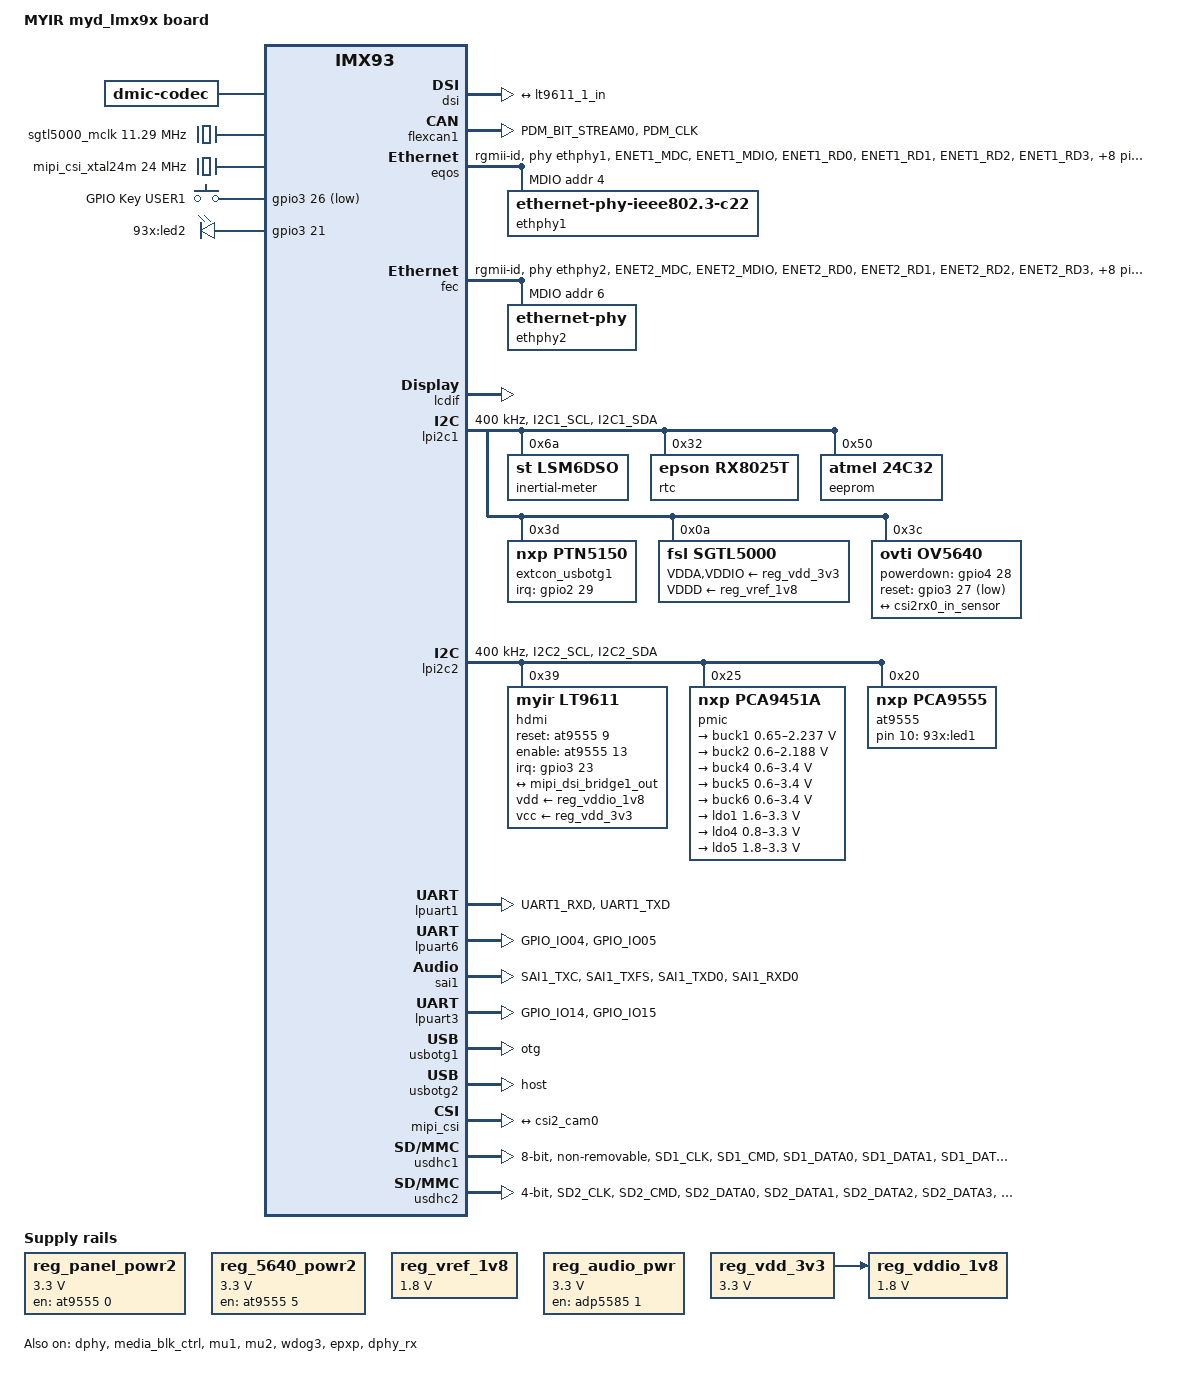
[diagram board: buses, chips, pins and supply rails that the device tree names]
// SPDX-License-Identifier: (GPL-2.0+ OR MIT)
/*
 * Copyright 2022 NXP
 */

/dts-v1/;

#include <dt-bindings/usb/pd.h>
#include "imx93.dtsi"

&ele_fw2 {
	memory-region = <&ele_reserved>;
};

/ {
	model = "MYIR myd_lmx9x board";
	compatible = "fsl,imx93-11x11-evk", "fsl,imx93";

	chosen {
		stdout-path = &lpuart1;
	};

	dmic: dmic {
		compatible = "dmic-codec";
		#sound-dai-cells = <0>;
		num-channels = <4>;
	};

	 reserved-memory {
		#address-cells = <2>;
		#size-cells = <2>;
		ranges;

		linux,cma {
			compatible = "shared-dma-pool";
			reusable;
			alloc-ranges = <0 0x80000000 0 0x40000000>;
			size = <0 0x10000000>;
			linux,cma-default;
		};

		 ethosu_mem: ethosu_region@B0000000 {
		 	compatible = "shared-dma-pool";
		 	reusable;
		 	reg = <0x0 0xB0000000 0x0 0x8000000>;
		 };

		vdev0vring0: vdev0vring0@a4000000 {
			reg = <0 0xa4000000 0 0x8000>;
			no-map;
		};

		vdev0vring1: vdev0vring1@a4008000 {
			reg = <0 0xa4008000 0 0x8000>;
			no-map;
		};

		vdev1vring0: vdev1vring0@a4000000 {
			reg = <0 0xa4010000 0 0x8000>;
			no-map;
		};

		vdev1vring1: vdev1vring1@a4018000 {
			reg = <0 0xa4018000 0 0x8000>;
			no-map;
		};

		rsc_table: rsc-table@2021e000 {
			reg = <0 0x2021e000 0 0x1000>;
			no-map;
		};

		vdevbuffer: vdevbuffer@a4020000 {
			compatible = "shared-dma-pool";
			reg = <0 0xa4020000 0 0x100000>;
			no-map;
		};

		ele_reserved: ele-reserved@a4120000 {
			compatible = "shared-dma-pool";
			reg = <0 0xa4120000 0 0x100000>;
			no-map;
		};
	}; 

	
/*
	ethosu {
		compatible = "arm,ethosu";
		fsl,cm33-proc = <&cm33>;
		memory-region = <&ethosu_mem>;
		power-domains = <&mlmix>;
	};*/

	reg_panel_powr2: regulator-panel {
		compatible = "regulator-fixed";
		regulator-name = "panel-power1";
		regulator-min-microvolt = <3300000>;
		regulator-max-microvolt = <3300000>;
		gpios = <&at9555 0 GPIO_ACTIVE_LOW>;
		enable-active-high;
		regulator-boot-on;
		regulator-always-on;
	};


	reg_5640_powr2: regulator-5640 {
		compatible = "regulator-fixed";
		regulator-name = "5640-power1";
		regulator-min-microvolt = <3300000>;
		regulator-max-microvolt = <3300000>;
		gpios = <&at9555 5 GPIO_ACTIVE_HIGH>;
		enable-active-high;
		regulator-boot-on;
		regulator-always-on;
	};




	reg_vref_1v8: regulator-adc-vref {
		compatible = "regulator-fixed";
		regulator-name = "vref_1v8";
		regulator-min-microvolt = <1800000>;
		regulator-max-microvolt = <1800000>;
	};

	/* reg_usdhc2_vmmc: regulator-usdhc2 {
		compatible = "regulator-fixed";
		pinctrl-names = "default";
		pinctrl-0 = <&pinctrl_reg_pmic>;
		regulator-name = "VSD_3V3";
		regulator-min-microvolt = <3300000>;
		regulator-max-microvolt = <3300000>;
		gpio = <&gpio3 7 GPIO_ACTIVE_HIGH>;
		off-on-delay-us = <12000>;
		enable-active-high;
	}; */






	reg_audio_pwr: regulator-audio-pwr {
		compatible = "regulator-fixed";
		regulator-name = "audio-pwr";
		regulator-min-microvolt = <3300000>;
		regulator-max-microvolt = <3300000>;
		gpio = <&adp5585 1 GPIO_ACTIVE_HIGH>;
		enable-active-high;
		regulator-always-on;
	};


	reg_vdd_3v3: regulator-vdd {
		compatible = "regulator-fixed";
		regulator-name = "VDD_3V3";
		regulator-min-microvolt = <3300000>;
		regulator-max-microvolt = <3300000>;
		startup-delay-us = <4000>;
		enable-active-high;
	};

	reg_vddio_1v8: regulator-vddo {
		compatible = "regulator-fixed";
		regulator-name = "VDDIO_1V8";
		regulator-min-microvolt = <1800000>;
		regulator-max-microvolt = <1800000>;
		startup-delay-us = <4000>;
		enable-active-high;
		vin-supply = <&reg_vdd_3v3>;
	};

		sgtl5000_mclk: sgtl5000-mclk {
		compatible = "fixed-clock";
		#clock-cells = <0>;
		clock-frequency = <11289600>;
	};

	mipi_csi_xtal24m: mipi_csi_xtal24m {
		compatible = "fixed-clock";
		#clock-cells = <0>;
		clock-frequency = <24000000>;
		clock-output-names = "xtal_24MHz";
	};

	gpio-keys {
		compatible = "gpio-keys";
		autorepeat;
		pinctrl-names = "default";
		pinctrl-0 = <&pinctrl_key>;

		user: user {
			label = "GPIO Key USER1";
			linux,code = <KEY_HOME>;
			gpios = <&gpio3 26 GPIO_ACTIVE_LOW>;
		};

	};
	leds {
		compatible = "gpio-leds";
		status = "okay";
		led-user {
			label = "93x:led1";
			gpios = <&at9555 10 GPIO_ACTIVE_HIGH>;
			max-brightness = <255>;
			linux,default-trigger = "heartbeat";
		};

		led-sys {
			label = "93x:led2";
			pinctrl-names = "default";
			pinctrl-1 = <&pinctrl_sysled>;
			gpios = <&gpio3 21 GPIO_ACTIVE_HIGH>;
			linux,default-trigger = "heartbeat";
		};
	};

	sound {
		compatible = "simple-audio-card";
		simple-audio-card,name = "SGTL5000-Card";
		simple-audio-card,format = "i2s";
		simple-audio-card,bitclock-master = <&codec_dai>;
		simple-audio-card,frame-master = <&codec_dai>;
		simple-audio-card,widgets = "Headphone", "Headphone Jack";
		simple-audio-card,routing = "Headphone Jack", "HP_OUT";

		cpu_dai: simple-audio-card,cpu {
			sound-dai = <&sai1>;
		};

		codec_dai: simple-audio-card,codec {
			sound-dai = <&sgtl5000>;
			clocks = <&sgtl5000_mclk>;
		};
	};

	bt_sco_codec: bt-sco-codec {
		compatible = "linux,bt-sco";
		#sound-dai-cells = <1>;
		status = "disabled";
	};

	sound-bt-sco {
		compatible = "simple-audio-card";
		simple-audio-card,name = "bt-sco-audio";
		simple-audio-card,format = "dsp_a";
		simple-audio-card,bitclock-inversion;
		simple-audio-card,frame-master = <&btcpu>;
		simple-audio-card,bitclock-master = <&btcpu>;
		status = "disabled";

		btcpu: simple-audio-card,cpu {
			sound-dai = <&sai1>;
			dai-tdm-slot-num = <2>;
			dai-tdm-slot-width = <16>;
		};

		simple-audio-card,codec {
			sound-dai = <&bt_sco_codec 1>;
		};
	};

	sound-micfil {
		compatible = "fsl,imx-audio-card";
		model = "micfil-audio";
		status = "disabled";

		pri-dai-link {
			link-name = "micfil hifi";
			format = "i2s";

			cpu {
				sound-dai = <&micfil>;
			};

			codec {
				sound-dai = <&dmic>;
			};
		};
	};

	sound-xcvr {
		compatible = "fsl,imx-audio-card";
		model = "imx-audio-xcvr";
		status = "disabled";

		pri-dai-link {
			link-name = "XCVR PCM";

			cpu {
				sound-dai = <&xcvr>;
			};
		};
	};
};

&adc1 {
	vref-supply = <&reg_vref_1v8>;
	status = "disabled";
};

&cm33 {
	mbox-names = "tx", "rx", "rxdb";
	mboxes = <&mu1 0 1>,
		 <&mu1 1 1>,
		 <&mu1 3 1>;
	memory-region = <&vdevbuffer>, <&vdev0vring0>, <&vdev0vring1>,
			<&vdev1vring0>, <&vdev1vring1>, <&rsc_table>;
	fsl,startup-delay-ms = <500>;
	status = "disabled";
};

&dphy {
	status = "okay";
};

&dsi {
 	status = "okay";
 	ports{
 		#address-cells = <1>;
 		#size-cells = <0>;

 		hdmi:port@1 {
 			reg = <1>;
 			mipi_dsi_bridge1_out: endpoint {
 				remote-endpoint = <&lt9611_1_in>;
 				};
 			};
 		};
 		
 };

&flexcan1 {
	pinctrl-names = "default";
	pinctrl-0 = <&pinctrl_flexcan1>;
	status = "okay";
};

&eqos {
	pinctrl-names = "default", "sleep";
	pinctrl-0 = <&pinctrl_eqos>;
	pinctrl-1 = <&pinctrl_eqos_sleep>;
	phy-mode = "rgmii-id";
	phy-handle = <&ethphy1>;
	status = "okay";

	mdio {
		compatible = "snps,dwmac-mdio";
		#address-cells = <1>;
		#size-cells = <0>;
		clock-frequency = <5000000>;

		ethphy1: ethernet-phy@1 {
			compatible = "ethernet-phy-ieee802.3-c22";
			reg = <4>;
			eee-broken-1000t;
		};
	};
};

&fec {
	pinctrl-names = "default", "sleep";
	pinctrl-0 = <&pinctrl_fec>;
	pinctrl-1 = <&pinctrl_fec_sleep>;
	phy-mode = "rgmii-id";
	phy-handle = <&ethphy2>;
	fsl,magic-packet;
	status = "okay";

	mdio {
		#address-cells = <1>;
		#size-cells = <0>;
		clock-frequency = <5000000>;

		ethphy2: ethernet-phy@2 {
			reg = <6>;
			eee-broken-1000t;

		};
	};
};

&flexcan2 {
	status = "disabled";
};

&lcdif {
	status = "okay";
	assigned-clock-rates = <445333333>, <148444444>, <400000000>, <133333333>;
};

&lpm {
	soc-supply = <&buck1>;
	status = "disabled";
};

/*
 * When add, delete or change any target device setting in &lpi2c1,
 * please synchronize the changes to the &i3c1 bus in imx93-11x11-evk-i3c.dts.
 */
&lpi2c1 {
	clock-frequency = <400000>;
	pinctrl-names = "default";
	pinctrl-0 = <&pinctrl_lpi2c1>;
	status = "okay";

	codec: wm8962@1a {
		compatible = "wlf,wm8962";
		reg = <0x1a>;
		clocks = <&clk IMX93_CLK_SAI3_GATE>;
		DCVDD-supply = <&reg_audio_pwr>;
		DBVDD-supply = <&reg_audio_pwr>;
		AVDD-supply = <&reg_audio_pwr>;
		CPVDD-supply = <&reg_audio_pwr>;
		MICVDD-supply = <&reg_audio_pwr>;
		PLLVDD-supply = <&reg_audio_pwr>;
		SPKVDD1-supply = <&reg_audio_pwr>;
		SPKVDD2-supply = <&reg_audio_pwr>;
		gpio-cfg = <
			0x0000 /* 0:Default */
			0x0000 /* 1:Default */
			0x0000 /* 2:FN_DMICCLK */
			0x0000 /* 3:Default */
			0x0000 /* 4:FN_DMICCDAT */
			0x0000 /* 5:Default */
		>;
		status = "disabled";
	};

	inertial-meter@6a {
		compatible = "st,lsm6dso";
		reg = <0x6a>;
	};
	
	rtc: rtc@32 {
		compatible = "epson,rx8025t";
		reg = <0x32>;
		status = "okay";
	};

	eeprom: 24c32@50 {
		compatible = "atmel,24c32";
		reg = <0x50>;
		pagesize = <32>;
	};
	       extcon_usbotg1: typec@3d {
                compatible = "nxp,ptn5150";
                reg = <0x3d>;
                interrupt-parent = <&gpio2>;
                interrupts = <29 IRQ_TYPE_LEVEL_LOW>;
                pinctrl-names = "default";
                pinctrl-0 = <&pinctrl_tyint>;
                status = "okay";
        };

		sgtl5000: audio-codec@a {
		compatible = "fsl,sgtl5000";
		reg = <0xa>;
		#sound-dai-cells = <0>;
		clocks = <&sgtl5000_mclk>;
		VDDA-supply = <&reg_vdd_3v3>;
		VDDIO-supply = <&reg_vdd_3v3>;
		VDDD-supply = <&reg_vref_1v8>;
	};

	ov5640: camera@3c {
		compatible = "ovti,ov5640";
		reg = <0x3c>;

		pinctrl-names ="default";
		pinctrl-0=<&pinctrl_ov5640_gpio>;

		clocks = <&mipi_csi_xtal24m>;
		// assigned-clocks = <&clk IMX93_CLK_CCM_CKO3>;
		// assigned-clock-rates = <24000000>;
		powerdown-gpios = <&gpio4 28 GPIO_ACTIVE_HIGH>;
		reset-gpios = <&gpio3 27 GPIO_ACTIVE_LOW>;
        clock-names = "xclk";

		csi_id = <0>;
		mclk = <24000000>;
		mclk_source = <0>;
		mipi_csi;
		status = "okay";

		port {
			csi2_cam0: endpoint {
				remote-endpoint = <&csi2rx0_in_sensor>;
				data-lanes = <1 2>;
				// cfg-clk-range = <28>;
				// hs-clk-range = <0x16>;
			};
		};
	};

};


&lpi2c2 {
	clock-frequency = <400000>;
	pinctrl-names = "default", "sleep";
	pinctrl-0 = <&pinctrl_lpi2c2>;
	pinctrl-1 = <&pinctrl_lpi2c2>;
	status = "okay";

hdmi@39 {
	compatible = "myir,lt9611";
	pinctrl-0 = <&pinctrl_lt9611>;
	pinctrl-names = "default";
	vdd-supply = <&reg_vddio_1v8>;
	vcc-supply = <&reg_vdd_3v3>;
	
	// ddc-i2c-bus = <&lpi2c2>;
	// hpd-gpios = <&gpio1 8 GPIO_ACTIVE_HIGH>;
	// dsi-lanes = <4>;
	reg = <0x39>;
	reset-gpios = <&at9555 9 GPIO_ACTIVE_HIGH>;
	enable-gpios = <&at9555 13 GPIO_ACTIVE_HIGH>;
	interrupts-extended = <&gpio3 23 IRQ_TYPE_EDGE_FALLING>;
    // lvds-enabled = <0>;
    status = "okay";	    

	 ports {
	 	#address-cells = <1>;
	 	#size-cells = <0>;

	 	hdmi_disp: port@0 {
	 		reg = <0>;

	 		lt9611_1_in: endpoint {
	 			remote-endpoint = <&mipi_dsi_bridge1_out>;
	 		};
	 	};
/*
		 	port@2 {
		 		reg = <2>;
		 		lt9611_out: endpoint {
		 			remote-endpoint = <&hdmi_con>;
		 		};
		 	};
		 	*/
		 	
		 };
	};


	pmic@25 {
		compatible = "nxp,pca9451a";
		reg = <0x25>;

		regulators {
			buck1: BUCK1 {
				regulator-name = "BUCK1";
				regulator-min-microvolt = <650000>;
				regulator-max-microvolt = <2237500>;
				regulator-boot-on;
				regulator-always-on;
				regulator-ramp-delay = <3125>;
			};

			buck2: BUCK2 {
				regulator-name = "BUCK2";
				regulator-min-microvolt = <600000>;
				regulator-max-microvolt = <2187500>;
				regulator-boot-on;
				regulator-always-on;
				regulator-ramp-delay = <3125>;
			};

			buck4: BUCK4{
				regulator-name = "BUCK4";
				regulator-min-microvolt = <600000>;
				regulator-max-microvolt = <3400000>;
				regulator-boot-on;
				regulator-always-on;
			};

			buck5: BUCK5{
				regulator-name = "BUCK5";
				regulator-min-microvolt = <600000>;
				regulator-max-microvolt = <3400000>;
				regulator-boot-on;
				regulator-always-on;
			};

			buck6: BUCK6 {
				regulator-name = "BUCK6";
				regulator-min-microvolt = <600000>;
				regulator-max-microvolt = <3400000>;
				regulator-boot-on;
				regulator-always-on;
			};

			ldo1: LDO1 {
				regulator-name = "LDO1";
				regulator-min-microvolt = <1600000>;
				regulator-max-microvolt = <3300000>;
				regulator-boot-on;
				regulator-always-on;
			};

			ldo4: LDO4 {
				regulator-name = "LDO4";
				regulator-min-microvolt = <800000>;
				regulator-max-microvolt = <3300000>;
				regulator-boot-on;
				regulator-always-on;
			};

			ldo5: LDO5 {
				regulator-name = "LDO5";
				regulator-min-microvolt = <1800000>;
				regulator-max-microvolt = <3300000>;
				regulator-boot-on;
				regulator-always-on;
			};
		};
	};

	adp5585: io-expander@34 {
		compatible = "adi,adp5585-00", "adi,adp5585";
		reg = <0x34>;
		vdd-supply = <&buck4>;
		gpio-controller;
		#gpio-cells = <2>;
		gpio-reserved-ranges = <5 1>;
		#pwm-cells = <3>;
		status = "disabled";
	};

	at9555: at9555@20 {
		compatible = "nxp,pca9555";
		reg = <0x20>;
		#gpio-cells = <2>;
		gpio_base = <130>;
		interrupt-controller;
		#interrupt-cells = <2>;
		status = "okay";
	};

};

&lpi2c3 {
	clock-frequency = <400000>;
	pinctrl-names = "default";
	pinctrl-0 = <&pinctrl_lpi2c3>;
	status = "disabled";

};

&lpuart1 { /* console */
	pinctrl-names = "default";
	pinctrl-0 = <&pinctrl_uart1>;
	status = "okay";
};

&lpuart6 { /* console */
	pinctrl-names = "default";
	pinctrl-0 = <&pinctrl_uart6>;
	status = "okay";
};

&lpuart5 {
	pinctrl-names = "default";
	pinctrl-0 = <&pinctrl_uart5>;
	status = "disabled";

	bluetooth {
		compatible = "nxp,88w8987-bt";
	};
};

&media_blk_ctrl {
	status = "okay";
};

&micfil {
	pinctrl-names = "default", "sleep";
	pinctrl-0 = <&pinctrl_pdm>;
	pinctrl-1 = <&pinctrl_pdm_sleep>;
	assigned-clocks = <&clk IMX93_CLK_PDM>;
	assigned-clock-parents = <&clk IMX93_CLK_AUDIO_PLL>;
	assigned-clock-rates = <49152000>;
	status = "disabled";
};

&mu1 {
	status = "okay";
};

&mu2 {
	status = "okay";
};

&sai1 {
	pinctrl-names = "default", "sleep";
	pinctrl-0 = <&pinctrl_sai1>;
	pinctrl-1 = <&pinctrl_sai1_sleep>;
	assigned-clocks = <&clk IMX93_CLK_SAI1>;
	assigned-clock-parents = <&clk IMX93_CLK_AUDIO_PLL>;
	assigned-clock-rates = <12288000>;
	fsl,sai-mclk-direction-output;
	status = "okay";
};

&sai3 {
	pinctrl-names = "default", "sleep";
	pinctrl-0 = <&pinctrl_sai3>;
	pinctrl-1 = <&pinctrl_sai3_sleep>;
	assigned-clocks = <&clk IMX93_CLK_SAI3>;
	assigned-clock-parents = <&clk IMX93_CLK_AUDIO_PLL>;
	assigned-clock-rates = <12288000>;
	fsl,sai-mclk-direction-output;
	status = "disabled";
};

&lpuart3 {
	pinctrl-names = "default";
	pinctrl-0 = <&pinctrl_uart3>;
	rs485-rx-during-tx;
	linux,rs485-enabled-at-boot-time;
	status = "okay";

};

&usbotg1 {
	dr_mode = "otg";
	hnp-disable;
	srp-disable;
	adp-disable;
	usb-role-switch;
	disable-over-current;
	samsung,picophy-pre-emp-curr-control = <3>;
	samsung,picophy-dc-vol-level-adjust = <7>;
	status = "okay";

	extcon = <&extcon_usbotg1>, <&extcon_usbotg1>;
};

&usbotg2 {
	dr_mode = "host";
	disable-over-current;
	status = "okay";
};

&mipi_csi {
	status = "okay";
	port@0 {
	csi2rx0_in_sensor: endpoint {
		remote-endpoint = <&csi2_cam0>;
		bus-type = <4>; /* CSI2 DPHY. */
				data-lanes = <2>;
				cfg-clk-range = <28>;
				hs-clk-range = <0x16>;
	};
	};
};


&usdhc1 {
	pinctrl-names = "default", "state_100mhz", "state_200mhz";
	pinctrl-0 = <&pinctrl_usdhc1>;
	pinctrl-1 = <&pinctrl_usdhc1_100mhz>;
	pinctrl-2 = <&pinctrl_usdhc1_200mhz>;
	bus-width = <8>;
	fsl,tuning-step = <1>;
	non-removable;
	status = "okay";
};

&usdhc2 {
	pinctrl-names = "default", "state_100mhz", "state_200mhz", "sleep";
	pinctrl-0 = <&pinctrl_usdhc2>, <&pinctrl_usdhc2_gpio>;
	pinctrl-1 = <&pinctrl_usdhc2_100mhz>, <&pinctrl_usdhc2_gpio>;
	pinctrl-2 = <&pinctrl_usdhc2_200mhz>, <&pinctrl_usdhc2_gpio>;
	pinctrl-3 = <&pinctrl_usdhc2_sleep>, <&pinctrl_usdhc2_gpio_sleep>;
	cd-gpios = <&gpio3 00 GPIO_ACTIVE_LOW>;
	fsl,cd-gpio-wakeup-disable;
	/* vmmc-supply = <&reg_usdhc2_vmmc>; */
	bus-width = <4>;
	fsl,tuning-step = <1>;
	status = "okay";
	no-mmc;
};

&usdhc3 {

	status = "disabled";
};

&wdog3 {
	status = "okay";
};

&xcvr {
	pinctrl-names = "default", "sleep";
	pinctrl-0 = <&pinctrl_spdif>;
	pinctrl-1 = <&pinctrl_spdif_sleep>;
	assigned-clocks = <&clk IMX93_CLK_SPDIF>,
			 <&clk IMX93_CLK_AUDIO_XCVR>;
	assigned-clock-parents = <&clk IMX93_CLK_AUDIO_PLL>,
			 <&clk IMX93_CLK_SYS_PLL_PFD1_DIV2>;
	assigned-clock-rates = <12288000>, <200000000>;
	status = "disabled";
};

&iomuxc {
	pinctrl_uart3: pinctrluart3 {
		fsl,pins = <
			MX93_PAD_GPIO_IO14__LPUART3_TX             0x0000057E	
            MX93_PAD_GPIO_IO15__LPUART3_RX             0x0000057E
		>;
	};

	pinctrl_lt9611: pinctrl9611 {
		fsl,pins = <
            MX93_PAD_SD3_DATA1__GPIO3_IO23             0x0000057E
			>;
        };

	pinctrl_eqos: eqosgrp {
		fsl,pins = <
			MX93_PAD_ENET1_MDC__ENET_QOS_MDC			0x57e
			MX93_PAD_ENET1_MDIO__ENET_QOS_MDIO			0x57e
			MX93_PAD_ENET1_RD0__ENET_QOS_RGMII_RD0			0x57e
			MX93_PAD_ENET1_RD1__ENET_QOS_RGMII_RD1			0x57e
			MX93_PAD_ENET1_RD2__ENET_QOS_RGMII_RD2			0x57e
			MX93_PAD_ENET1_RD3__ENET_QOS_RGMII_RD3			0x57e
			MX93_PAD_ENET1_RXC__CCM_ENET_QOS_CLOCK_GENERATE_RX_CLK	0x58e
			MX93_PAD_ENET1_RX_CTL__ENET_QOS_RGMII_RX_CTL		0x57e
			MX93_PAD_ENET1_TD0__ENET_QOS_RGMII_TD0			0x57e
			MX93_PAD_ENET1_TD1__ENET_QOS_RGMII_TD1			0x57e
			MX93_PAD_ENET1_TD2__ENET_QOS_RGMII_TD2			0x57e
			MX93_PAD_ENET1_TD3__ENET_QOS_RGMII_TD3			0x57e
			MX93_PAD_ENET1_TXC__CCM_ENET_QOS_CLOCK_GENERATE_TX_CLK	0x58e
			MX93_PAD_ENET1_TX_CTL__ENET_QOS_RGMII_TX_CTL		0x57e
		>;
	};

	pinctrl_eqos_sleep: eqossleepgrp {
		fsl,pins = <
			MX93_PAD_ENET1_MDC__GPIO4_IO00				0x31e
			MX93_PAD_ENET1_MDIO__GPIO4_IO01				0x31e
			MX93_PAD_ENET1_RD0__GPIO4_IO10                          0x31e
			MX93_PAD_ENET1_RD1__GPIO4_IO11				0x31e
			MX93_PAD_ENET1_RD2__GPIO4_IO12				0x31e
			MX93_PAD_ENET1_RD3__GPIO4_IO13				0x31e
			MX93_PAD_ENET1_RXC__GPIO4_IO09                          0x31e
			MX93_PAD_ENET1_RX_CTL__GPIO4_IO08			0x31e
			MX93_PAD_ENET1_TD0__GPIO4_IO05                          0x31e
			MX93_PAD_ENET1_TD1__GPIO4_IO04                          0x31e
			MX93_PAD_ENET1_TD2__GPIO4_IO03				0x31e
			MX93_PAD_ENET1_TD3__GPIO4_IO02				0x31e
			MX93_PAD_ENET1_TXC__GPIO4_IO07                          0x31e
			MX93_PAD_ENET1_TX_CTL__GPIO4_IO06                       0x31e
		>;
	};

	pinctrl_flexcan1: flexcan1grp {
		fsl,pins = <
		MX93_PAD_PDM_BIT_STREAM0__CAN1_RX          0x0000057E
            	MX93_PAD_PDM_CLK__CAN1_TX  				   0x0000057E
		>;
	};

	pinctrl_fec: fecgrp {
		fsl,pins = <
			MX93_PAD_ENET2_MDC__ENET1_MDC			0x57e
			MX93_PAD_ENET2_MDIO__ENET1_MDIO			0x57e
			MX93_PAD_ENET2_RD0__ENET1_RGMII_RD0		0x57e
			MX93_PAD_ENET2_RD1__ENET1_RGMII_RD1		0x57e
			MX93_PAD_ENET2_RD2__ENET1_RGMII_RD2		0x57e
			MX93_PAD_ENET2_RD3__ENET1_RGMII_RD3		0x57e
			MX93_PAD_ENET2_RXC__ENET1_RGMII_RXC		0x58e
			MX93_PAD_ENET2_RX_CTL__ENET1_RGMII_RX_CTL	0x57e
			MX93_PAD_ENET2_TD0__ENET1_RGMII_TD0		0x57e
			MX93_PAD_ENET2_TD1__ENET1_RGMII_TD1		0x57e
			MX93_PAD_ENET2_TD2__ENET1_RGMII_TD2		0x57e
			MX93_PAD_ENET2_TD3__ENET1_RGMII_TD3		0x57e
			MX93_PAD_ENET2_TXC__ENET1_RGMII_TXC		0x58e
			MX93_PAD_ENET2_TX_CTL__ENET1_RGMII_TX_CTL	0x57e
		>;
	};

	pinctrl_key: pinctrlkey {
		fsl,pins = <
                MX93_PAD_CCM_CLKO1__GPIO3_IO26             0x0000051E
			>;
    };
	pinctrl_sysled: pinctrlsysled {
		fsl,pins = <
                MX93_PAD_SD3_CMD__GPIO3_IO21               0x0000051E
			>;
    };
	pinctrl_tyint: typecint {
		fsl,pins = <
                MX93_PAD_GPIO_IO29__GPIO2_IO29             0x0000051E
		>;
	};

	pinctrl_fec_sleep: fecsleepgrp {
		fsl,pins = <
			MX93_PAD_ENET2_MDC__GPIO4_IO14			0x51e
			MX93_PAD_ENET2_MDIO__GPIO4_IO15			0x51e
			MX93_PAD_ENET2_RD0__GPIO4_IO24			0x51e
			MX93_PAD_ENET2_RD1__GPIO4_IO25			0x51e
			MX93_PAD_ENET2_RD2__GPIO4_IO26			0x51e
			MX93_PAD_ENET2_RD3__GPIO4_IO27			0x51e
			MX93_PAD_ENET2_RXC__GPIO4_IO23                  0x51e
			MX93_PAD_ENET2_RX_CTL__GPIO4_IO22		0x51e
			MX93_PAD_ENET2_TD0__GPIO4_IO19			0x51e
			MX93_PAD_ENET2_TD1__GPIO4_IO18			0x51e
			MX93_PAD_ENET2_TD2__GPIO4_IO17			0x51e
			MX93_PAD_ENET2_TD3__GPIO4_IO16			0x51e
			MX93_PAD_ENET2_TXC__GPIO4_IO21                  0x51e
			MX93_PAD_ENET2_TX_CTL__GPIO4_IO20               0x51e
		>;
	};




	pinctrl_uart1: uart1grp {
		fsl,pins = <
			MX93_PAD_UART1_RXD__LPUART1_RX			0x31e
			MX93_PAD_UART1_TXD__LPUART1_TX			0x31e
		>;
	};

	pinctrl_uart6: uart6grp {
		fsl,pins = <
                MX93_PAD_GPIO_IO04__LPUART6_TX             0x0000057E
                MX93_PAD_GPIO_IO05__LPUART6_RX             0x0000057E
		>;
	};

	pinctrl_uart5: uart5grp {
		fsl,pins = <
			MX93_PAD_DAP_TDO_TRACESWO__LPUART5_TX		0x31e
			MX93_PAD_DAP_TDI__LPUART5_RX			0x31e
			MX93_PAD_DAP_TMS_SWDIO__LPUART5_RTS_B		0x31e
			MX93_PAD_DAP_TCLK_SWCLK__LPUART5_CTS_B		0x31e
		>;
	};

	pinctrl_ov5640_gpio: pinctrl-ov5640-gpio {
		fsl,pins = <
                MX93_PAD_CCM_CLKO2__GPIO3_IO27             0x0000057E
                MX93_PAD_CCM_CLKO3__GPIO4_IO28             0x0000057E
		>;
	};

	pinctrl_lpi2c1: lpi2c1grp {
		fsl,pins = <
			MX93_PAD_I2C1_SCL__LPI2C1_SCL			0x40000b9e
			MX93_PAD_I2C1_SDA__LPI2C1_SDA			0x40000b9e
		>;
	};

	pinctrl_lpi2c2: lpi2c2grp {
		fsl,pins = <
			MX93_PAD_I2C2_SCL__LPI2C2_SCL			0x40000b9e
			MX93_PAD_I2C2_SDA__LPI2C2_SDA			0x40000b9e
		>;
	};

	pinctrl_lpi2c3: lpi2c3grp {
		fsl,pins = <
			MX93_PAD_GPIO_IO28__LPI2C3_SDA			0x40000b9e
			MX93_PAD_GPIO_IO29__LPI2C3_SCL			0x40000b9e
		>;
	};

	pinctrl_pdm: pdmgrp {
		fsl,pins = <
			MX93_PAD_PDM_CLK__PDM_CLK			0x31e
			MX93_PAD_PDM_BIT_STREAM0__PDM_BIT_STREAM00	0x31e
			MX93_PAD_PDM_BIT_STREAM1__PDM_BIT_STREAM01	0x31e
		>;
	};

	pinctrl_pdm_sleep: pdmsleepgrp {
		fsl,pins = <
			MX93_PAD_PDM_CLK__GPIO1_IO08			0x31e
			MX93_PAD_PDM_BIT_STREAM0__GPIO1_IO09		0x31e
			MX93_PAD_PDM_BIT_STREAM1__GPIO1_IO10		0x31e
		>;
	};

	pinctrl_sai1: sai1grp {
		fsl,pins = <
			MX93_PAD_SAI1_TXC__SAI1_TX_BCLK			0x31e
			MX93_PAD_SAI1_TXFS__SAI1_TX_SYNC		0x31e
			MX93_PAD_SAI1_TXD0__SAI1_TX_DATA00		0x31e
			MX93_PAD_SAI1_RXD0__SAI1_RX_DATA00		0x31e
		>;
	};

	pinctrl_sai1_sleep: sai1sleepgrp {
		fsl,pins = <
			MX93_PAD_SAI1_TXC__GPIO1_IO12                   0x51e
			MX93_PAD_SAI1_TXFS__GPIO1_IO11			0x51e
			MX93_PAD_SAI1_TXD0__GPIO1_IO13			0x51e
			MX93_PAD_SAI1_RXD0__GPIO1_IO14			0x51e
		>;
	};

	/* need to config the SION for data and cmd pad, refer to ERR052021 */
	pinctrl_usdhc1: usdhc1grp {
		fsl,pins = <
			MX93_PAD_SD1_CLK__USDHC1_CLK		0x1582
			MX93_PAD_SD1_CMD__USDHC1_CMD		0x40001382
			MX93_PAD_SD1_DATA0__USDHC1_DATA0	0x40001382
			MX93_PAD_SD1_DATA1__USDHC1_DATA1	0x40001382
			MX93_PAD_SD1_DATA2__USDHC1_DATA2	0x40001382
			MX93_PAD_SD1_DATA3__USDHC1_DATA3	0x40001382
			MX93_PAD_SD1_DATA4__USDHC1_DATA4	0x40001382
			MX93_PAD_SD1_DATA5__USDHC1_DATA5	0x40001382
			MX93_PAD_SD1_DATA6__USDHC1_DATA6	0x40001382
			MX93_PAD_SD1_DATA7__USDHC1_DATA7	0x40001382
			MX93_PAD_SD1_STROBE__USDHC1_STROBE	0x1582
		>;
	};

	/* need to config the SION for data and cmd pad, refer to ERR052021 */
	pinctrl_usdhc1_100mhz: usdhc1-100mhzgrp {
		fsl,pins = <
			MX93_PAD_SD1_CLK__USDHC1_CLK		0x158e
			MX93_PAD_SD1_CMD__USDHC1_CMD		0x4000138e
			MX93_PAD_SD1_DATA0__USDHC1_DATA0	0x4000138e
			MX93_PAD_SD1_DATA1__USDHC1_DATA1	0x4000138e
			MX93_PAD_SD1_DATA2__USDHC1_DATA2	0x4000138e
			MX93_PAD_SD1_DATA3__USDHC1_DATA3	0x4000138e
			MX93_PAD_SD1_DATA4__USDHC1_DATA4	0x4000138e
			MX93_PAD_SD1_DATA5__USDHC1_DATA5	0x4000138e
			MX93_PAD_SD1_DATA6__USDHC1_DATA6	0x4000138e
			MX93_PAD_SD1_DATA7__USDHC1_DATA7	0x4000138e
			MX93_PAD_SD1_STROBE__USDHC1_STROBE	0x158e
		>;
	};

	/* need to config the SION for data and cmd pad, refer to ERR052021 */
	pinctrl_usdhc1_200mhz: usdhc1-200mhzgrp {
		fsl,pins = <
			MX93_PAD_SD1_CLK__USDHC1_CLK		0x15fe
			MX93_PAD_SD1_CMD__USDHC1_CMD		0x400013fe
			MX93_PAD_SD1_DATA0__USDHC1_DATA0	0x400013fe
			MX93_PAD_SD1_DATA1__USDHC1_DATA1	0x400013fe
			MX93_PAD_SD1_DATA2__USDHC1_DATA2	0x400013fe
			MX93_PAD_SD1_DATA3__USDHC1_DATA3	0x400013fe
			MX93_PAD_SD1_DATA4__USDHC1_DATA4	0x400013fe
			MX93_PAD_SD1_DATA5__USDHC1_DATA5	0x400013fe
			MX93_PAD_SD1_DATA6__USDHC1_DATA6	0x400013fe
			MX93_PAD_SD1_DATA7__USDHC1_DATA7	0x400013fe
			MX93_PAD_SD1_STROBE__USDHC1_STROBE	0x15fe
		>;
	};

	pinctrl_reg_pmic: regpmicvmmcgrp {
		fsl,pins = <
			MX93_PAD_SD2_RESET_B__GPIO3_IO07	0x31e
		>;
	};

	pinctrl_spdif: spdifgrp {
		fsl,pins = <
			MX93_PAD_GPIO_IO22__SPDIF_IN		0x3fe
			MX93_PAD_GPIO_IO23__SPDIF_OUT		0x3fe
		>;
	};

	pinctrl_spdif_sleep: spdifsleepgrp {
		fsl,pins = <
			MX93_PAD_GPIO_IO22__GPIO2_IO22		0x31e
			MX93_PAD_GPIO_IO23__GPIO2_IO23		0x31e
		>;
	};

	pinctrl_usdhc2_gpio: usdhc2gpiogrp {
		fsl,pins = <
			MX93_PAD_SD2_CD_B__GPIO3_IO00		0x31e
		>;
	};

	pinctrl_usdhc2_gpio_sleep: usdhc2gpiosleepgrp {
		fsl,pins = <
			MX93_PAD_SD2_CD_B__GPIO3_IO00		0x51e
		>;
	};

	/* need to config the SION for data and cmd pad, refer to ERR052021 */
	pinctrl_usdhc2: usdhc2grp {
		fsl,pins = <
			MX93_PAD_SD2_CLK__USDHC2_CLK		0x1582
			MX93_PAD_SD2_CMD__USDHC2_CMD		0x40001382
			MX93_PAD_SD2_DATA0__USDHC2_DATA0	0x40001382
			MX93_PAD_SD2_DATA1__USDHC2_DATA1	0x40001382
			MX93_PAD_SD2_DATA2__USDHC2_DATA2	0x40001382
			MX93_PAD_SD2_DATA3__USDHC2_DATA3	0x40001382
			MX93_PAD_SD2_VSELECT__USDHC2_VSELECT	0x51e
		>;
	};

	/* need to config the SION for data and cmd pad, refer to ERR052021 */
	pinctrl_usdhc2_100mhz: usdhc2-100mhzgrp {
		fsl,pins = <
			MX93_PAD_SD2_CLK__USDHC2_CLK		0x158e
			MX93_PAD_SD2_CMD__USDHC2_CMD		0x4000138e
			MX93_PAD_SD2_DATA0__USDHC2_DATA0	0x4000138e
			MX93_PAD_SD2_DATA1__USDHC2_DATA1	0x4000138e
			MX93_PAD_SD2_DATA2__USDHC2_DATA2	0x4000138e
			MX93_PAD_SD2_DATA3__USDHC2_DATA3	0x4000138e
			MX93_PAD_SD2_VSELECT__USDHC2_VSELECT	0x51e
		>;
	};

	/* need to config the SION for data and cmd pad, refer to ERR052021 */
	pinctrl_usdhc2_200mhz: usdhc2-200mhzgrp {
		fsl,pins = <
			MX93_PAD_SD2_CLK__USDHC2_CLK		0x15fe
			MX93_PAD_SD2_CMD__USDHC2_CMD		0x400013fe
			MX93_PAD_SD2_DATA0__USDHC2_DATA0	0x400013fe
			MX93_PAD_SD2_DATA1__USDHC2_DATA1	0x400013fe
			MX93_PAD_SD2_DATA2__USDHC2_DATA2	0x400013fe
			MX93_PAD_SD2_DATA3__USDHC2_DATA3	0x400013fe
			MX93_PAD_SD2_VSELECT__USDHC2_VSELECT	0x51e
		>;
	};

	pinctrl_usdhc2_sleep: usdhc2sleepgrp {
		fsl,pins = <
			MX93_PAD_SD2_CLK__GPIO3_IO01            0x51e
			MX93_PAD_SD2_CMD__GPIO3_IO02		0x51e
			MX93_PAD_SD2_DATA0__GPIO3_IO03		0x51e
			MX93_PAD_SD2_DATA1__GPIO3_IO04		0x51e
			MX93_PAD_SD2_DATA2__GPIO3_IO05		0x51e
			MX93_PAD_SD2_DATA3__GPIO3_IO06		0x51e
			MX93_PAD_SD2_VSELECT__GPIO3_IO19	0x51e
		>;
	};

	


	pinctrl_sai3: sai3grp {
		fsl,pins = <
			MX93_PAD_GPIO_IO26__SAI3_TX_SYNC		0x31e
			MX93_PAD_GPIO_IO16__SAI3_TX_BCLK		0x31e
			MX93_PAD_GPIO_IO17__SAI3_MCLK			0x31e
			MX93_PAD_GPIO_IO19__SAI3_TX_DATA00		0x31e
			MX93_PAD_GPIO_IO20__SAI3_RX_DATA00		0x31e
		>;
	};

	pinctrl_sai3_sleep: sai3grpsleep {
		fsl,pins = <
			MX93_PAD_GPIO_IO26__GPIO2_IO26			0x51e
			MX93_PAD_GPIO_IO16__GPIO2_IO16			0x51e
			MX93_PAD_GPIO_IO17__GPIO2_IO17			0x51e
			MX93_PAD_GPIO_IO19__GPIO2_IO19			0x51e
			MX93_PAD_GPIO_IO20__GPIO2_IO20			0x51e
		>;
	};
};

&epxp {
	status = "okay";
};

&isi {
	status = "disabled";
};


&dphy_rx {
	status = "okay";
};
